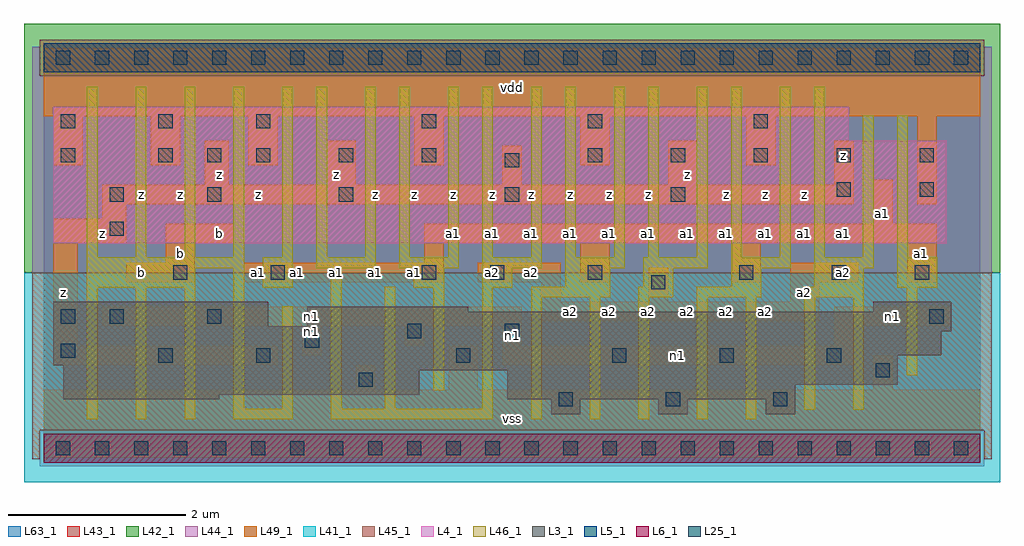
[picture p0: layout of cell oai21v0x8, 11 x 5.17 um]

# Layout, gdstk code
import gdstk
lib = gdstk.Library(unit=1e-6, precision=1e-09)
def R(c, l, rs):  # rectangles x0, y0, x1, y1
    for r in rs: c.add(gdstk.rectangle(r[:2], r[2:], *l))
def A(c, l, x, y, w, h, nx, ny, dx, dy):  # array of equal rectangles
    R(c, l, [(x+i*dx, y+j*dy, x+i*dx+w, y+j*dy+h) for i in range(nx) for j in range(ny)])
L3_1 = (3, 1)
L4_1 = (4, 1)
L5_1 = (5, 1)
L6_1 = (6, 1)
L25_1 = (25, 1)
L41_1 = (41, 1)
L42_1 = (42, 1)
L43_1 = (43, 1)
L44_1 = (44, 1)
L45_1 = (45, 1)
L46_1 = (46, 1)
L49_1 = (49, 1)
L63_1 = (63, 1)

oai21v0x8 = lib.new_cell('oai21v0x8')
A(oai21v0x8, L3_1, 5.72, 0.385, 0.33, 0.165, 3, 1, 1.21, 0)
R(oai21v0x8, L3_1, [(0.22,0.55,1.98,0.605), (5.225,0.55,8.47,0.715), (0.22,0.605,4.235,0.88), (5.225,0.715,9.625,0.88), (0.22,0.88,9.625,0.935), (0.11,0.935,9.625,1.045), (0.11,1.045,10.12,1.32), (0.11,1.32,10.23,1.375), (0.11,1.375,2.53,1.65), (2.97,1.375,10.23,1.54), (2.97,1.54,4.785,1.595), (9.35,1.54,10.23,1.65)])
R(oai21v0x8, L4_1, [(0.11,2.31,10.175,3.465), (0.11,3.465,9.075,3.85)])
R(oai21v0x8, L5_1, [(0,4.235,10.56,4.565)])
R(oai21v0x8, L6_1, [(0,-0.165,10.56,0.165)])
A(oai21v0x8, L25_1, 0.14, -0.08, 0.16, 0.16, 24, 2, 0.44, 4.4)
A(oai21v0x8, L25_1, 5.805, 0.47, 0.16, 0.16, 3, 1, 1.21, 0)
A(oai21v0x8, L25_1, 6.41, 0.965, 0.16, 0.16, 3, 1, 1.21, 0)
A(oai21v0x8, L25_1, 3.33, 2.78, 0.16, 0.16, 3, 1, 1.87, 0)
A(oai21v0x8, L25_1, 1.295, 3.22, 0.16, 0.16, 3, 1, 0.55, 0)
A(oai21v0x8, L25_1, 6.135, 3.22, 0.16, 0.16, 5, 1, 0.935, 0)
A(oai21v0x8, L25_1, 0.195, 3.605, 0.16, 0.16, 3, 1, 1.1, 0)
A(oai21v0x8, L25_1, 4.265, 3.605, 0.16, 0.16, 3, 1, 1.87, 0)
R(oai21v0x8, L25_1, [(3.55,0.69,3.71,0.85), (9.38,0.8,9.54,0.96), (1.295,0.965,1.455,1.125), (2.395,0.965,2.555,1.125), (4.65,0.965,4.81,1.125), (0.195,1.02,0.355,1.18), (2.945,1.13,3.105,1.29), (4.1,1.24,4.26,1.4), (5.2,1.24,5.36,1.4), (0.195,1.405,0.355,1.565), (0.745,1.405,0.905,1.565), (1.845,1.405,2.005,1.565), (9.985,1.405,10.145,1.565), (6.85,1.79,7.01,1.95), (1.46,1.9,1.62,2.06), (2.56,1.9,2.72,2.06), (4.265,1.9,4.425,2.06), (5.035,1.9,5.195,2.06), (6.135,1.9,6.295,2.06), (7.84,1.9,8,2.06), (8.885,1.9,9.045,2.06), (9.82,1.9,9.98,2.06), (0.745,2.395,0.905,2.555), (0.745,2.78,0.905,2.94), (1.845,2.78,2.005,2.94), (8.94,2.835,9.1,2.995), (9.875,2.835,10.035,2.995), (5.2,3.165,5.36,3.325), (0.195,3.22,0.355,3.38), (3.33,3.22,3.49,3.38), (4.265,3.22,4.425,3.38)])
R(oai21v0x8, L41_1, [(-0.22,-0.385,10.78,1.98)])
R(oai21v0x8, L42_1, [(-0.22,1.98,10.78,4.785)])
A(oai21v0x8, L43_1, 5.72, 0.385, 0.33, 0.165, 3, 1, 1.21, 0)
R(oai21v0x8, L43_1, [(0,-0.165,10.56,0.165), (0.22,0.55,1.98,0.605), (5.225,0.55,8.47,0.715), (0.22,0.605,4.235,0.88), (5.225,0.715,9.625,0.88), (0.22,0.88,9.625,0.935), (0.11,0.935,9.625,1.045), (0.11,1.045,10.12,1.32), (0.11,1.32,10.23,1.375), (0.11,1.375,2.53,1.65), (2.97,1.375,10.23,1.54), (2.97,1.54,4.785,1.595), (9.35,1.54,10.23,1.65), (0.11,2.31,10.175,3.465), (0.11,3.465,9.075,3.85), (0,4.235,10.56,4.565)])
R(oai21v0x8, L44_1, [(-0.04,-0.205,10.6,0.205), (-0.125,1.98,10.685,4.195), (-0.125,4.195,-0.04,4.525), (10.6,4.195,10.685,4.525)])
R(oai21v0x8, L45_1, [(-0.125,-0.125,-0.04,0.205), (10.6,-0.125,10.685,0.205), (-0.125,0.205,10.685,1.98), (-0.04,4.195,10.6,4.605)])
A(oai21v0x8, L46_1, 0.49, 0.325, 0.12, 1.485, 3, 1, 0.55, 0)
A(oai21v0x8, L46_1, 3.075, 2.03, 0.67, 0.12, 4, 1, 0.935, 0)
A(oai21v0x8, L46_1, 0.49, 2.15, 0.12, 1.925, 5, 1, 0.55, 0)
R(oai21v0x8, L46_1, [(2.14,0.325,2.81,0.445), (3.24,0.325,5.065,0.445), (5.495,0.325,5.615,1.7), (6.155,0.325,6.275,1.7), (6.705,0.325,6.825,1.7), (7.365,0.325,7.485,1.7), (7.915,0.325,8.035,1.7), (8.575,0.435,8.695,1.7), (9.125,0.435,9.245,1.7), (2.14,0.445,2.26,2.03), (2.69,0.445,2.81,1.6), (3.24,0.445,3.36,2.03), (3.845,0.445,3.965,1.82), (4.945,0.445,5.065,1.81), (4.395,0.655,4.515,1.81), (9.73,0.82,9.85,1.81), (5.495,1.7,6.385,1.82), (6.705,1.7,7.1,1.82), (7.365,1.7,8.09,1.82), (8.575,1.7,9.245,1.82), (0.49,1.81,1.71,2.03), (2.47,1.81,2.81,2.15), (4.175,1.81,4.515,2.03), (4.945,1.81,5.285,2.03), (9.62,1.81,10.07,2.15), (5.88,1.82,6.385,2.03), (6.76,1.82,7.1,2.03), (7.75,1.82,8.09,2.03), (8.685,1.82,9.245,2.03), (0.49,2.03,2.26,2.15), (6.76,2.03,7.485,2.15), (7.75,2.03,8.42,2.15), (8.685,2.03,9.355,2.15), (3.075,2.15,3.195,4.075), (3.625,2.15,3.745,4.075), (4.01,2.15,4.13,4.075), (4.56,2.15,4.68,4.075), (4.945,2.15,5.065,4.075), (5.495,2.15,5.615,4.075), (5.88,2.15,6,4.075), (6.43,2.15,6.55,4.075), (6.815,2.15,6.935,4.075), (7.365,2.15,7.485,4.075), (7.75,2.15,7.87,4.075), (8.3,2.15,8.42,4.075), (8.685,2.15,8.805,4.075), (9.235,2.15,9.355,3.745), (9.62,2.15,9.74,3.745)])
A(oai21v0x8, L49_1, 0.11, 3.19, 0.33, 0.55, 3, 1, 1.1, 0)
A(oai21v0x8, L49_1, 4.18, 3.19, 0.33, 0.55, 3, 1, 1.87, 0)
R(oai21v0x8, L49_1, [(0,-0.11,10.56,0.66), (3.52,0.66,3.74,0.935), (4.565,0.66,4.895,1.155), (9.35,0.66,9.57,1.045), (0.11,0.935,2.64,1.155), (5.17,0.935,9.13,1.155), (2.915,1.045,3.135,1.375), (0.11,1.155,0.385,2.31), (4.07,1.155,4.29,1.375), (5.17,1.155,5.39,1.375), (8.91,1.155,9.13,1.375), (0.66,1.375,5.39,1.595), (8.91,1.375,10.23,1.595), (5.61,1.43,8.745,1.65), (5.61,1.65,5.83,1.87), (6.82,1.65,7.04,2.035), (8.415,1.65,8.745,1.87), (0.935,1.87,1.705,2.09), (2.255,1.87,4.51,2.09), (4.895,1.87,5.83,2.09), (6.05,1.87,6.38,2.31), (7.755,1.87,8.085,2.31), (8.415,1.87,9.185,2.09), (9.735,1.87,10.065,2.31), (1.375,2.09,1.705,2.31), (4.29,2.09,4.51,2.31), (0.11,2.31,0.935,2.585), (1.375,2.31,2.145,2.53), (4.29,2.31,10.065,2.53), (9.35,2.53,9.57,3.025), (0.66,2.585,0.935,2.75), (0.66,2.75,9.13,2.97), (9.845,2.75,10.065,3.74), (1.815,2.97,2.09,3.465), (3.19,2.97,3.52,3.465), (5.17,2.97,5.39,3.41), (7.04,2.97,7.37,3.465), (8.91,2.97,9.13,3.465), (0,3.74,10.56,4.51)])
R(oai21v0x8, L63_1, [(0,0,10.56,4.4)])
oai21v0x8.add(gdstk.Label('z', (0.22,1.76), layer=49, texttype=1))
oai21v0x8.add(gdstk.Label('b', (1.1,1.98), layer=49, texttype=1))
oai21v0x8.add(gdstk.Label('z', (0.66,2.42), layer=49, texttype=1))
oai21v0x8.add(gdstk.Label('z', (1.1,2.86), layer=49, texttype=1))
oai21v0x8.add(gdstk.Label('n1', (3.025,1.32), layer=49, texttype=1))
oai21v0x8.add(gdstk.Label('a1', (3.3,1.98), layer=49, texttype=1))
oai21v0x8.add(gdstk.Label('a1', (2.86,1.98), layer=49, texttype=1))
oai21v0x8.add(gdstk.Label('a1', (2.42,1.98), layer=49, texttype=1))
oai21v0x8.add(gdstk.Label('b', (1.98,2.42), layer=49, texttype=1))
oai21v0x8.add(gdstk.Label('b', (1.54,2.2), layer=49, texttype=1))
oai21v0x8.add(gdstk.Label('z', (1.54,2.86), layer=49, texttype=1))
oai21v0x8.add(gdstk.Label('z', (2.42,2.86), layer=49, texttype=1))
oai21v0x8.add(gdstk.Label('z', (3.3,3.08), layer=49, texttype=1))
oai21v0x8.add(gdstk.Label('z', (1.98,3.08), layer=49, texttype=1))
oai21v0x8.add(gdstk.Label('a2', (5.06,1.98), layer=49, texttype=1))
oai21v0x8.add(gdstk.Label('a1', (4.18,1.98), layer=49, texttype=1))
oai21v0x8.add(gdstk.Label('a1', (3.74,1.98), layer=49, texttype=1))
oai21v0x8.add(gdstk.Label('a1', (5.06,2.42), layer=49, texttype=1))
oai21v0x8.add(gdstk.Label('a1', (4.62,2.42), layer=49, texttype=1))
oai21v0x8.add(gdstk.Label('z', (5.06,2.86), layer=49, texttype=1))
oai21v0x8.add(gdstk.Label('z', (4.62,2.86), layer=49, texttype=1))
oai21v0x8.add(gdstk.Label('z', (4.18,2.86), layer=49, texttype=1))
oai21v0x8.add(gdstk.Label('z', (3.74,2.86), layer=49, texttype=1))
oai21v0x8.add(gdstk.Label('vss', (5.28,0.33), layer=49, texttype=1))
oai21v0x8.add(gdstk.Label('a2', (6.82,1.54), layer=49, texttype=1))
oai21v0x8.add(gdstk.Label('a2', (6.38,1.54), layer=49, texttype=1))
oai21v0x8.add(gdstk.Label('a2', (5.94,1.54), layer=49, texttype=1))
oai21v0x8.add(gdstk.Label('n1', (5.28,1.265), layer=49, texttype=1))
oai21v0x8.add(gdstk.Label('n1', (3.025,1.485), layer=49, texttype=1))
oai21v0x8.add(gdstk.Label('a2', (5.5,1.98), layer=49, texttype=1))
oai21v0x8.add(gdstk.Label('a1', (6.82,2.42), layer=49, texttype=1))
oai21v0x8.add(gdstk.Label('a1', (6.38,2.42), layer=49, texttype=1))
oai21v0x8.add(gdstk.Label('a1', (5.94,2.42), layer=49, texttype=1))
oai21v0x8.add(gdstk.Label('a1', (5.5,2.42), layer=49, texttype=1))
oai21v0x8.add(gdstk.Label('z', (5.5,2.86), layer=49, texttype=1))
oai21v0x8.add(gdstk.Label('z', (6.82,2.86), layer=49, texttype=1))
oai21v0x8.add(gdstk.Label('z', (6.38,2.86), layer=49, texttype=1))
oai21v0x8.add(gdstk.Label('z', (5.94,2.86), layer=49, texttype=1))
oai21v0x8.add(gdstk.Label('vdd', (5.28,4.07), layer=49, texttype=1))
oai21v0x8.add(gdstk.Label('a2', (8.14,1.54), layer=49, texttype=1))
oai21v0x8.add(gdstk.Label('a2', (7.7,1.54), layer=49, texttype=1))
oai21v0x8.add(gdstk.Label('a2', (7.26,1.54), layer=49, texttype=1))
oai21v0x8.add(gdstk.Label('a2', (8.58,1.76), layer=49, texttype=1))
oai21v0x8.add(gdstk.Label('a1', (8.58,2.42), layer=49, texttype=1))
oai21v0x8.add(gdstk.Label('a1', (8.14,2.42), layer=49, texttype=1))
oai21v0x8.add(gdstk.Label('a1', (7.7,2.42), layer=49, texttype=1))
oai21v0x8.add(gdstk.Label('a1', (7.26,2.42), layer=49, texttype=1))
oai21v0x8.add(gdstk.Label('z', (8.58,2.86), layer=49, texttype=1))
oai21v0x8.add(gdstk.Label('z', (8.14,2.86), layer=49, texttype=1))
oai21v0x8.add(gdstk.Label('z', (7.7,2.86), layer=49, texttype=1))
oai21v0x8.add(gdstk.Label('z', (7.26,3.08), layer=49, texttype=1))
oai21v0x8.add(gdstk.Label('n1', (7.15,1.045), layer=49, texttype=1))
oai21v0x8.add(gdstk.Label('n1', (9.57,1.485), layer=49, texttype=1))
oai21v0x8.add(gdstk.Label('a2', (9.02,1.98), layer=49, texttype=1))
oai21v0x8.add(gdstk.Label('a1', (9.9,2.2), layer=49, texttype=1))
oai21v0x8.add(gdstk.Label('a1', (9.02,2.42), layer=49, texttype=1))
oai21v0x8.add(gdstk.Label('a1', (9.46,2.64), layer=49, texttype=1))
oai21v0x8.add(gdstk.Label('z', (9.02,3.3), layer=49, texttype=1))

lib.write_gds('oai21v0x8.gds')
